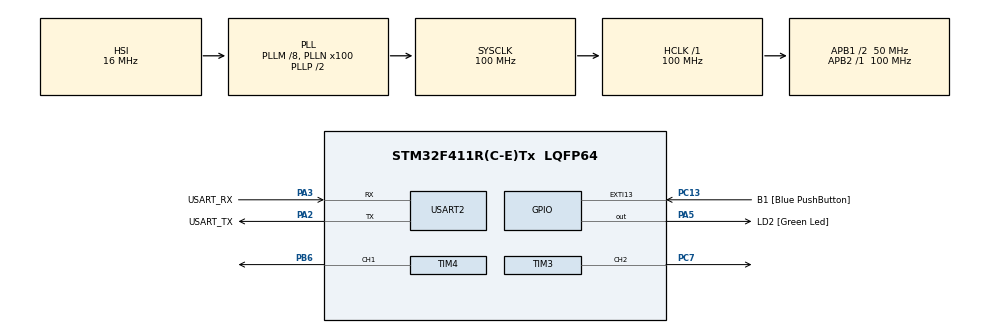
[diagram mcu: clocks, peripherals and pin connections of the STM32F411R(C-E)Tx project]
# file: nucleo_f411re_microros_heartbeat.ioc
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Mcu.Family=STM32F4
Mcu.Name=STM32F411R(C-E)Tx
Mcu.Package=LQFP64
NVIC.PriorityGroup=NVIC_PRIORITYGROUP_0
NVIC.USART2_IRQn=true\:0\:0\:false\:false\:true\:true\:true\:true
PA13.GPIO_Label=TMS
PA13.Mode=Serial_Wire
PA13.Signal=SYS_JTMS-SWDIO
PA14.GPIO_Label=TCK
PA14.Mode=Serial_Wire
PA14.Signal=SYS_JTCK-SWCLK
PA2.GPIO_Label=USART_TX
PA2.Mode=Asynchronous
PA2.Signal=USART2_TX
PA3.GPIO_Label=USART_RX
PA3.Mode=Asynchronous
PA3.Signal=USART2_RX
PA5.GPIO_Label=LD2 [Green Led]
PA5.Signal=GPIO_Output
PB3.GPIO_Label=SWO
PB3.Signal=SYS_JTDO-SWO
PB6.Signal=S_TIM4_CH1
PC13-ANTI_TAMP.GPIO_Label=B1 [Blue PushButton]
PC13-ANTI_TAMP.GPIO_ModeDefaultEXTI=GPIO_MODE_IT_FALLING
PC13-ANTI_TAMP.Signal=GPXTI13
PC14-OSC32_IN.Signal=RCC_OSC32_IN
PC15-OSC32_OUT.Signal=RCC_OSC32_OUT
PC7.Signal=S_TIM3_CH2
PH0\ -\ OSC_IN.Signal=RCC_OSC_IN
PH1\ -\ OSC_OUT.Signal=RCC_OSC_OUT
ProjectManager.HeapSize=0x200
ProjectManager.StackSize=0x400
ProjectManager.TargetToolchain=STM32CubeIDE
RCC.48MHZClocksFreq_Value=50000000
RCC.AHBFreq_Value=100000000
RCC.APB1CLKDivider=RCC_HCLK_DIV2
RCC.APB1Freq_Value=50000000
RCC.APB1TimFreq_Value=100000000
RCC.APB2Freq_Value=100000000
RCC.APB2TimFreq_Value=100000000
RCC.CortexFreq_Value=100000000
RCC.FLatency-AdvancedSettings=FLASH_LATENCY_3
RCC.HCLKFreq_Value=100000000
RCC.HSE_VALUE=8000000
RCC.HSI_VALUE=16000000
RCC.LSE_VALUE=32768
RCC.PLLM=8
RCC.PLLN=100
RCC.SYSCLKFreq_VALUE=100000000
RCC.SYSCLKSource=RCC_SYSCLKSOURCE_PLLCLK
RCC.VCOOutputFreq_Value=200000000
SH.S_TIM3_CH2.0=TIM3_CH2,PWM Generation2 CH2
SH.S_TIM4_CH1.0=TIM4_CH1,PWM Generation1 CH1
TIM3.Channel-PWM\ Generation2\ CH2=TIM_CHANNEL_2
TIM3.Period=19999
TIM3.Prescaler=99
TIM3.Pulse-PWM\ Generation2\ CH2=1500
TIM4.Channel-PWM\ Generation1\ CH1=TIM_CHANNEL_1
TIM4.Period=19999
TIM4.Prescaler=99
TIM4.Pulse-PWM\ Generation1\ CH1=1500
USART2.VirtualMode=VM_ASYNC
VP_TIM3_VS_ClockSourceINT.Mode=Internal
VP_TIM4_VS_ClockSourceINT.Mode=Internal
board=NUCLEO-F411RE

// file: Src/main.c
/* USER CODE BEGIN Header */
/**
  ******************************************************************************
  * @file           : main.c
  * @brief          : Main program body
  ******************************************************************************
  * @attention
  *
  * Copyright (c) 2026 STMicroelectronics.
  * All rights reserved.
  *
  * This software is licensed under terms that can be found in the LICENSE file
  * in the root directory of this software component.
  * If no LICENSE file comes with this software, it is provided AS-IS.
  *
  ******************************************************************************
  */
/* USER CODE END Header */
#include "main.h"

/* USER CODE BEGIN Includes */
#include <stdbool.h>
#include <stddef.h>
#include <stdint.h>

#include <rcl/rcl.h>
#include <rclc/rclc.h>
#include <rclc/executor.h>
#include <rmw_microros/rmw_microros.h>
#include <rcutils/allocator.h>
#include <std_msgs/msg/bool.h>
#include <std_msgs/msg/u_int32.h>
#include <std_msgs/msg/int16_multi_array.h>
#include <rosidl_runtime_c/message_type_support_struct.h>
#include <uxr/client/transport.h>
/* USER CODE END Includes */

/* USER CODE BEGIN PD */
/* Host and firmware must use the same physical safety envelope. */
#define SERVO_CENTER_US      1500
#define SERVO_MIN_SAFE_US    1150
#define SERVO_MAX_SAFE_US    1850

#define ESC_STOP_US          1550
#define ESC_FORWARD_START_US 1580
#define ESC_MAX_US           1600

#define ACTUATOR_CMD_TIMEOUT_MS 250U
#define ARM_TIMEOUT_MS          250U
#define MCU_STATUS_PERIOD_MS    100U
#define AGENT_PING_PERIOD_MS    500U
#define AGENT_PING_TIMEOUT_MS   100U
#define MAIN_LOOP_PERIOD_MS     10U
#define WAITING_AGENT_LED_PERIOD_MS 250U

#define STATE_FLAG_AGENT_CONNECTED 0x01
#define STATE_FLAG_ARMED           0x02
#define STATE_FLAG_COMMAND_FRESH   0x04
#define STATE_FLAG_ARM_FRESH       0x08
/* 0x10 is reserved while the hardware IWDG is disabled in bring-up. */
/* USER CODE END PD */

TIM_HandleTypeDef htim3;
TIM_HandleTypeDef htim4;

UART_HandleTypeDef huart2;

/* USER CODE BEGIN PV */
static uint16_t current_servo_us = SERVO_CENTER_US;
static uint16_t current_esc_us = ESC_STOP_US;

static rcl_allocator_t microros_allocator;
static rclc_support_t microros_support;
static rcl_node_t microros_node;
static rcl_publisher_t status_publisher;
static rcl_publisher_t actuator_state_publisher;
static rcl_subscription_t actuator_subscriber;
static rcl_subscription_t arm_subscriber;
static rclc_executor_t microros_executor;
static std_msgs__msg__UInt32 status_msg;
static std_msgs__msg__Int16MultiArray actuator_cmd_msg;
static std_msgs__msg__Bool arm_msg;
static std_msgs__msg__Int16MultiArray actuator_state_msg;
static int16_t actuator_cmd_data[2] = {SERVO_CENTER_US, ESC_STOP_US};
static int16_t actuator_state_data[3] = {SERVO_CENTER_US, ESC_STOP_US, 0};
static uint32_t heartbeat_counter = 0U;
static bool microros_ready = false;
static bool support_initialized = false;
static bool node_initialized = false;
static bool status_publisher_initialized = false;
static bool actuator_state_publisher_initialized = false;
static bool actuator_subscriber_initialized = false;
static bool arm_subscriber_initialized = false;
static bool executor_initialized = false;

static uint32_t last_actuator_cmd_ms = 0U;
static uint32_t last_arm_msg_ms = 0U;
static uint32_t last_status_publish_ms = 0U;
static uint32_t last_agent_ping_ms = 0U;
static bool actuator_cmd_seen = false;
static bool arm_msg_seen = false;
static bool arm_requested = false;
static bool actuator_armed = false;

static uint16_t desired_servo_us = SERVO_CENTER_US;
static uint16_t desired_esc_us = ESC_STOP_US;
/* USER CODE END PV */

void SystemClock_Config(void);
static void MX_GPIO_Init(void);
static void MX_TIM4_Init(void);
static void MX_TIM3_Init(void);
static void MX_USART2_UART_Init(void);
/* USER CODE BEGIN PFP */
extern bool cubemx_transport_open(struct uxrCustomTransport * transport);
extern bool cubemx_transport_close(struct uxrCustomTransport * transport);
extern size_t cubemx_transport_write(struct uxrCustomTransport * transport, const uint8_t * buf, size_t len, uint8_t * err);
extern size_t cubemx_transport_read(struct uxrCustomTransport * transport, uint8_t * buf, size_t len, int timeout, uint8_t * err);

extern void * microros_allocate(size_t size, void * state);
extern void microros_deallocate(void * pointer, void * state);
extern void * microros_reallocate(void * pointer, size_t size, void * state);
extern void * microros_zero_allocate(size_t number_of_elements, size_t size_of_element, void * state);
static bool microros_transport_init(void);
static bool microros_create_entities(void);
static void microros_destroy_entities(void);
static bool microros_publish_status_once(void);
static void microros_prepare_messages(void);
static void actuator_cmd_callback(const void * msgin);
static void arm_callback(const void * msgin);
static void apply_actuator_safety_update(void);
static void watchdog_init(void);
static void watchdog_refresh(void);
/* USER CODE END PFP */

/* USER CODE BEGIN 0 */
static uint16_t clamp_u16(uint16_t value, uint16_t min_value, uint16_t max_value)
{
  if (value < min_value)
  {
    return min_value;
  }

  if (value > max_value)
  {
    return max_value;
  }

  return value;
}

static void servo_write_us(uint16_t pulse_us)
{
  pulse_us = clamp_u16(pulse_us, SERVO_MIN_SAFE_US, SERVO_MAX_SAFE_US);
  current_servo_us = pulse_us;
  __HAL_TIM_SET_COMPARE(&htim4, TIM_CHANNEL_1, pulse_us);
}

static void esc_write_us(uint16_t pulse_us)
{
  if (pulse_us <= ESC_STOP_US) {
    pulse_us = ESC_STOP_US;
  } else {
    pulse_us = clamp_u16(pulse_us, ESC_FORWARD_START_US, ESC_MAX_US);
  }
  current_esc_us = pulse_us;
  __HAL_TIM_SET_COMPARE(&htim3, TIM_CHANNEL_2, pulse_us);
}

static void force_stop_outputs(void)
{
  servo_write_us(SERVO_CENTER_US);
  esc_write_us(ESC_STOP_US);
  actuator_armed = false;
}

static void watchdog_init(void)
{
  /*
   * Bring-up mode: keep watchdog disabled.
   *
   * The previous direct IWDG register setup can hide boot failures during
   * urgent micro-ROS/ST-LINK validation because the firmware may reset before
   * LD2 or the agent handshake becomes observable. Re-enable only after the
   * heartbeat/actuation link is proven stable on hardware.
   */
}

static void watchdog_refresh(void)
{
  /* Bring-up mode: watchdog disabled. */
}

static bool microros_transport_init(void)
{
  microros_allocator = rcutils_get_zero_initialized_allocator();
  microros_allocator.allocate = microros_allocate;
  microros_allocator.deallocate = microros_deallocate;
  microros_allocator.reallocate = microros_reallocate;
  microros_allocator.zero_allocate = microros_zero_allocate;

  if (!rcutils_set_default_allocator(&microros_allocator)) {
    return false;
  }

  rmw_uros_set_custom_transport(
    true,
    (void *) &huart2,
    cubemx_transport_open,
    cubemx_transport_close,
    cubemx_transport_write,
    cubemx_transport_read);
  return true;
}

static bool microros_create_entities(void)
{
  microros_support = (rclc_support_t) {0};
  microros_node = rcl_get_zero_initialized_node();
  status_publisher = rcl_get_zero_initialized_publisher();
  actuator_state_publisher = rcl_get_zero_initialized_publisher();
  actuator_subscriber = rcl_get_zero_initialized_subscription();
  arm_subscriber = rcl_get_zero_initialized_subscription();
  microros_executor = rclc_executor_get_zero_initialized_executor();

  if (rclc_support_init(&microros_support, 0, NULL, &microros_allocator) != RCL_RET_OK) {
    return false;
  }
  support_initialized = true;

  if (rclc_node_init_default(&microros_node, "nucleo_f411re", "", &microros_support) != RCL_RET_OK) {
    goto fail;
  }
  node_initialized = true;

  if (rclc_publisher_init_default(
      &status_publisher,
      &microros_node,
      ROSIDL_GET_MSG_TYPE_SUPPORT(std_msgs, msg, UInt32),
      "/mcu/status") != RCL_RET_OK) {
    goto fail;
  }
  status_publisher_initialized = true;

  if (rclc_publisher_init_default(
      &actuator_state_publisher,
      &microros_node,
      ROSIDL_GET_MSG_TYPE_SUPPORT(std_msgs, msg, Int16MultiArray),
      "/mcu/actuator_state") != RCL_RET_OK) {
    goto fail;
  }
  actuator_state_publisher_initialized = true;

  if (rclc_subscription_init_default(
      &actuator_subscriber,
      &microros_node,
      ROSIDL_GET_MSG_TYPE_SUPPORT(std_msgs, msg, Int16MultiArray),
      "/mcu/actuator_cmd") != RCL_RET_OK) {
    goto fail;
  }
  actuator_subscriber_initialized = true;

  if (rclc_subscription_init_default(
      &arm_subscriber,
      &microros_node,
      ROSIDL_GET_MSG_TYPE_SUPPORT(std_msgs, msg, Bool),
      "/mcu/arm") != RCL_RET_OK) {
    goto fail;
  }
  arm_subscriber_initialized = true;

  microros_prepare_messages();

  if (rclc_executor_init(&microros_executor, &microros_support.context, 2U, &microros_allocator) != RCL_RET_OK) {
    goto fail;
  }
  executor_initialized = true;

  if (rclc_executor_add_subscription(
      &microros_executor,
      &actuator_subscriber,
      &actuator_cmd_msg,
      &actuator_cmd_callback,
      ON_NEW_DATA) != RCL_RET_OK) {
    goto fail;
  }

  if (rclc_executor_add_subscription(
      &microros_executor,
      &arm_subscriber,
      &arm_msg,
      &arm_callback,
      ON_NEW_DATA) != RCL_RET_OK) {
    goto fail;
  }

  status_msg.data = 0U;
  heartbeat_counter = 0U;
  actuator_cmd_seen = false;
  arm_msg_seen = false;
  arm_requested = false;
  force_stop_outputs();
  microros_ready = true;
  return true;

fail:
  microros_destroy_entities();
  return false;
}

static void microros_destroy_entities(void)
{
  microros_ready = false;
  arm_requested = false;
  actuator_cmd_seen = false;
  arm_msg_seen = false;
  force_stop_outputs();

  if (support_initialized) {
    rmw_context_t * rmw_context =
      rcl_context_get_rmw_context(&microros_support.context);
    (void) rmw_uros_set_context_entity_destroy_session_timeout(
      rmw_context, 0);
  }
  if (executor_initialized) {
    (void) rclc_executor_fini(&microros_executor);
  }
  if (arm_subscriber_initialized) {
    (void) rcl_subscription_fini(&arm_subscriber, &microros_node);
  }
  if (actuator_subscriber_initialized) {
    (void) rcl_subscription_fini(&actuator_subscriber, &microros_node);
  }
  if (actuator_state_publisher_initialized) {
    (void) rcl_publisher_fini(&actuator_state_publisher, &microros_node);
  }
  if (status_publisher_initialized) {
    (void) rcl_publisher_fini(&status_publisher, &microros_node);
  }
  if (node_initialized) {
    (void) rcl_node_fini(&microros_node);
  }
  if (support_initialized) {
    (void) rclc_support_fini(&microros_support);
  }

  executor_initialized = false;
  arm_subscriber_initialized = false;
  actuator_subscriber_initialized = false;
  actuator_state_publisher_initialized = false;
  status_publisher_initialized = false;
  node_initialized = false;
  support_initialized = false;
}

static bool microros_publish_status_once(void)
{
  if (!microros_ready) {
    return false;
  }

  uint32_t now_ms = HAL_GetTick();
  bool command_fresh = actuator_cmd_seen
    && ((now_ms - last_actuator_cmd_ms) <= ACTUATOR_CMD_TIMEOUT_MS);
  bool arm_fresh = arm_msg_seen
    && ((now_ms - last_arm_msg_ms) <= ARM_TIMEOUT_MS);
  int16_t flags = STATE_FLAG_AGENT_CONNECTED;
  if (actuator_armed) {
    flags |= STATE_FLAG_ARMED;
  }
  if (command_fresh) {
    flags |= STATE_FLAG_COMMAND_FRESH;
  }
  if (arm_fresh) {
    flags |= STATE_FLAG_ARM_FRESH;
  }

  status_msg.data = heartbeat_counter;
  heartbeat_counter++;
  actuator_state_data[0] = (int16_t) current_servo_us;
  actuator_state_data[1] = (int16_t) current_esc_us;
  actuator_state_data[2] = flags;

  if (rcl_publish(&status_publisher, &status_msg, NULL) != RCL_RET_OK) {
    return false;
  }
  return rcl_publish(
    &actuator_state_publisher, &actuator_state_msg, NULL) == RCL_RET_OK;
}

static void microros_prepare_messages(void)
{
  actuator_cmd_data[0] = SERVO_CENTER_US;
  actuator_cmd_data[1] = ESC_STOP_US;

  actuator_cmd_msg.layout.dim.data = NULL;
  actuator_cmd_msg.layout.dim.size = 0U;
  actuator_cmd_msg.layout.dim.capacity = 0U;
  actuator_cmd_msg.layout.data_offset = 0U;

  actuator_cmd_msg.data.data = actuator_cmd_data;
  actuator_cmd_msg.data.size = 0U;
  actuator_cmd_msg.data.capacity = 2U;

  actuator_state_msg.layout.dim.data = NULL;
  actuator_state_msg.layout.dim.size = 0U;
  actuator_state_msg.layout.dim.capacity = 0U;
  actuator_state_msg.layout.data_offset = 0U;
  actuator_state_msg.data.data = actuator_state_data;
  actuator_state_msg.data.size = 3U;
  actuator_state_msg.data.capacity = 3U;

  arm_msg.data = false;
}

static void actuator_cmd_callback(const void * msgin)
{
  const std_msgs__msg__Int16MultiArray * msg =
    (const std_msgs__msg__Int16MultiArray *) msgin;

  if (msg == NULL || msg->data.data == NULL || msg->data.size < 1U) {
    desired_servo_us = SERVO_CENTER_US;
    desired_esc_us = ESC_STOP_US;
    actuator_cmd_seen = false;
    return;
  }

  int32_t servo_cmd = (int32_t) msg->data.data[0];

  if (servo_cmd < SERVO_MIN_SAFE_US) {
    servo_cmd = SERVO_MIN_SAFE_US;
  }

  if (servo_cmd > SERVO_MAX_SAFE_US) {
    servo_cmd = SERVO_MAX_SAFE_US;
  }

  int32_t esc_cmd = ESC_STOP_US;

  if (msg->data.size >= 2U) {
    esc_cmd = (int32_t) msg->data.data[1];
  }

  if (esc_cmd <= ESC_STOP_US) {
    esc_cmd = ESC_STOP_US;
  } else {
    if (esc_cmd < ESC_FORWARD_START_US) {
      esc_cmd = ESC_FORWARD_START_US;
    }
    if (esc_cmd > ESC_MAX_US) {
      esc_cmd = ESC_MAX_US;
    }
  }

  desired_servo_us = (uint16_t) servo_cmd;
  desired_esc_us = (uint16_t) esc_cmd;
  last_actuator_cmd_ms = HAL_GetTick();
  actuator_cmd_seen = true;
}

static void arm_callback(const void * msgin)
{
  const std_msgs__msg__Bool * msg =
    (const std_msgs__msg__Bool *) msgin;
  if (msg == NULL) {
    arm_requested = false;
    arm_msg_seen = false;
    force_stop_outputs();
    return;
  }

  arm_requested = msg->data;
  arm_msg_seen = true;
  last_arm_msg_ms = HAL_GetTick();
  if (!arm_requested) {
    force_stop_outputs();
  }
}

static void apply_actuator_safety_update(void)
{
  uint32_t now_ms = HAL_GetTick();
  bool command_fresh = actuator_cmd_seen
    && ((now_ms - last_actuator_cmd_ms) <= ACTUATOR_CMD_TIMEOUT_MS);
  bool arm_fresh = arm_msg_seen
    && ((now_ms - last_arm_msg_ms) <= ARM_TIMEOUT_MS);

  if (!microros_ready || !arm_requested || !command_fresh || !arm_fresh) {
    force_stop_outputs();
    return;
  }

  actuator_armed = true;
  servo_write_us(desired_servo_us);
  esc_write_us(desired_esc_us);
}

/* USER CODE END 0 */

int main(void)
{

  /* MCU Configuration--------------------------------------------------------*/

  /* Reset of all peripherals, Initializes the Flash interface and the Systick. */
  HAL_Init();

  /* Configure the system clock */
  SystemClock_Config();

  /* Initialize all configured peripherals */
  MX_GPIO_Init();
  MX_TIM4_Init();
  MX_TIM3_Init();
  MX_USART2_UART_Init();
  /* USER CODE BEGIN 2 */
HAL_TIM_PWM_Start(&htim4, TIM_CHANNEL_1);
HAL_TIM_PWM_Start(&htim3, TIM_CHANNEL_2);

/* Boot is always stopped and disarmed. */
force_stop_outputs();
if (!microros_transport_init()) {
  Error_Handler();
}
watchdog_init();
HAL_GPIO_WritePin(LD2_GPIO_Port, LD2_Pin, GPIO_PIN_SET);
uint32_t last_waiting_agent_led_toggle_ms = HAL_GetTick();
  /* USER CODE END 2 */

  /* Infinite loop */
  /* USER CODE BEGIN WHILE */
  while (1)
  {
    uint32_t now_ms = HAL_GetTick();

    if (!microros_ready) {
      force_stop_outputs();
      if ((now_ms - last_waiting_agent_led_toggle_ms) >= WAITING_AGENT_LED_PERIOD_MS) {
        last_waiting_agent_led_toggle_ms = now_ms;
        HAL_GPIO_TogglePin(LD2_GPIO_Port, LD2_Pin);
      }
      if ((now_ms - last_agent_ping_ms) >= AGENT_PING_PERIOD_MS) {
        last_agent_ping_ms = now_ms;
        if (rmw_uros_ping_agent(AGENT_PING_TIMEOUT_MS, 1U) == RMW_RET_OK) {
          if (microros_create_entities()) {
            last_status_publish_ms = now_ms;
            HAL_GPIO_WritePin(LD2_GPIO_Port, LD2_Pin, GPIO_PIN_SET);
          }
        }
      }
    } else {
      rcl_ret_t spin_result = rclc_executor_spin_some(
        &microros_executor, RCL_MS_TO_NS(5));
      if (spin_result != RCL_RET_OK && spin_result != RCL_RET_TIMEOUT) {
        microros_destroy_entities();
        HAL_GPIO_WritePin(LD2_GPIO_Port, LD2_Pin, GPIO_PIN_RESET);
      }

      apply_actuator_safety_update();
      now_ms = HAL_GetTick();

      if (microros_ready
          && (now_ms - last_status_publish_ms) >= MCU_STATUS_PERIOD_MS) {
        if (!microros_publish_status_once()) {
          microros_destroy_entities();
          HAL_GPIO_WritePin(LD2_GPIO_Port, LD2_Pin, GPIO_PIN_RESET);
        }
        last_status_publish_ms = now_ms;
      }

      if (microros_ready
          && (now_ms - last_agent_ping_ms) >= AGENT_PING_PERIOD_MS) {
        last_agent_ping_ms = now_ms;
        if (rmw_uros_ping_agent(AGENT_PING_TIMEOUT_MS, 1U) != RMW_RET_OK) {
          microros_destroy_entities();
          HAL_GPIO_WritePin(LD2_GPIO_Port, LD2_Pin, GPIO_PIN_RESET);
        }
      }
    }

    apply_actuator_safety_update();
    watchdog_refresh();
    HAL_Delay(MAIN_LOOP_PERIOD_MS);

    /* USER CODE END WHILE */

  }
}

void SystemClock_Config(void)
{
  RCC_OscInitTypeDef RCC_OscInitStruct = {0};
  RCC_ClkInitTypeDef RCC_ClkInitStruct = {0};

  /** Configure the main internal regulator output voltage
  */
  __HAL_RCC_PWR_CLK_ENABLE();
  __HAL_PWR_VOLTAGESCALING_CONFIG(PWR_REGULATOR_VOLTAGE_SCALE1);

  /** Initializes the RCC Oscillators according to the specified parameters
  * in the RCC_OscInitTypeDef structure.
  */
  RCC_OscInitStruct.OscillatorType = RCC_OSCILLATORTYPE_HSI;
  RCC_OscInitStruct.HSIState = RCC_HSI_ON;
  RCC_OscInitStruct.HSICalibrationValue = RCC_HSICALIBRATION_DEFAULT;
  RCC_OscInitStruct.PLL.PLLState = RCC_PLL_ON;
  RCC_OscInitStruct.PLL.PLLSource = RCC_PLLSOURCE_HSI;
  RCC_OscInitStruct.PLL.PLLM = 8;
  RCC_OscInitStruct.PLL.PLLN = 100;
  RCC_OscInitStruct.PLL.PLLP = RCC_PLLP_DIV2;
  RCC_OscInitStruct.PLL.PLLQ = 4;
  if (HAL_RCC_OscConfig(&RCC_OscInitStruct) != HAL_OK)
  {
    Error_Handler();
  }

  /** Initializes the CPU, AHB and APB buses clocks
  */
  RCC_ClkInitStruct.ClockType = RCC_CLOCKTYPE_HCLK|RCC_CLOCKTYPE_SYSCLK
                              |RCC_CLOCKTYPE_PCLK1|RCC_CLOCKTYPE_PCLK2;
  RCC_ClkInitStruct.SYSCLKSource = RCC_SYSCLKSOURCE_PLLCLK;
  RCC_ClkInitStruct.AHBCLKDivider = RCC_SYSCLK_DIV1;
  RCC_ClkInitStruct.APB1CLKDivider = RCC_HCLK_DIV2;
  RCC_ClkInitStruct.APB2CLKDivider = RCC_HCLK_DIV1;

  if (HAL_RCC_ClockConfig(&RCC_ClkInitStruct, FLASH_LATENCY_3) != HAL_OK)
  {
    Error_Handler();
  }
}

static void MX_TIM3_Init(void)
{

  TIM_ClockConfigTypeDef sClockSourceConfig = {0};
  TIM_MasterConfigTypeDef sMasterConfig = {0};
  TIM_OC_InitTypeDef sConfigOC = {0};

  htim3.Instance = TIM3;
  htim3.Init.Prescaler = 99;
  htim3.Init.CounterMode = TIM_COUNTERMODE_UP;
  htim3.Init.Period = 19999;
  htim3.Init.ClockDivision = TIM_CLOCKDIVISION_DIV1;
  htim3.Init.AutoReloadPreload = TIM_AUTORELOAD_PRELOAD_DISABLE;
  if (HAL_TIM_Base_Init(&htim3) != HAL_OK)
  {
    Error_Handler();
  }
  sClockSourceConfig.ClockSource = TIM_CLOCKSOURCE_INTERNAL;
  if (HAL_TIM_ConfigClockSource(&htim3, &sClockSourceConfig) != HAL_OK)
  {
    Error_Handler();
  }
  if (HAL_TIM_PWM_Init(&htim3) != HAL_OK)
  {
    Error_Handler();
  }
  sMasterConfig.MasterOutputTrigger = TIM_TRGO_RESET;
  sMasterConfig.MasterSlaveMode = TIM_MASTERSLAVEMODE_DISABLE;
  if (HAL_TIMEx_MasterConfigSynchronization(&htim3, &sMasterConfig) != HAL_OK)
  {
    Error_Handler();
  }
  sConfigOC.OCMode = TIM_OCMODE_PWM1;
  sConfigOC.Pulse = 1500;
  sConfigOC.OCPolarity = TIM_OCPOLARITY_HIGH;
  sConfigOC.OCFastMode = TIM_OCFAST_DISABLE;
  if (HAL_TIM_PWM_ConfigChannel(&htim3, &sConfigOC, TIM_CHANNEL_2) != HAL_OK)
  {
    Error_Handler();
  }
  HAL_TIM_MspPostInit(&htim3);

}

static void MX_TIM4_Init(void)
{

  TIM_ClockConfigTypeDef sClockSourceConfig = {0};
  TIM_MasterConfigTypeDef sMasterConfig = {0};
  TIM_OC_InitTypeDef sConfigOC = {0};

  htim4.Instance = TIM4;
  htim4.Init.Prescaler = 99;
  htim4.Init.CounterMode = TIM_COUNTERMODE_UP;
  htim4.Init.Period = 19999;
  htim4.Init.ClockDivision = TIM_CLOCKDIVISION_DIV1;
  htim4.Init.AutoReloadPreload = TIM_AUTORELOAD_PRELOAD_DISABLE;
  if (HAL_TIM_Base_Init(&htim4) != HAL_OK)
  {
    Error_Handler();
  }
  sClockSourceConfig.ClockSource = TIM_CLOCKSOURCE_INTERNAL;
  if (HAL_TIM_ConfigClockSource(&htim4, &sClockSourceConfig) != HAL_OK)
  {
    Error_Handler();
  }
  if (HAL_TIM_PWM_Init(&htim4) != HAL_OK)
  {
    Error_Handler();
  }
  sMasterConfig.MasterOutputTrigger = TIM_TRGO_RESET;
  sMasterConfig.MasterSlaveMode = TIM_MASTERSLAVEMODE_DISABLE;
  if (HAL_TIMEx_MasterConfigSynchronization(&htim4, &sMasterConfig) != HAL_OK)
  {
    Error_Handler();
  }
  sConfigOC.OCMode = TIM_OCMODE_PWM1;
  sConfigOC.Pulse = 1500;
  sConfigOC.OCPolarity = TIM_OCPOLARITY_HIGH;
  sConfigOC.OCFastMode = TIM_OCFAST_DISABLE;
  if (HAL_TIM_PWM_ConfigChannel(&htim4, &sConfigOC, TIM_CHANNEL_1) != HAL_OK)
  {
    Error_Handler();
  }
  HAL_TIM_MspPostInit(&htim4);

}

static void MX_USART2_UART_Init(void)
{

  huart2.Instance = USART2;
  huart2.Init.BaudRate = 115200;
  huart2.Init.WordLength = UART_WORDLENGTH_8B;
  huart2.Init.StopBits = UART_STOPBITS_1;
  huart2.Init.Parity = UART_PARITY_NONE;
  huart2.Init.Mode = UART_MODE_TX_RX;
  huart2.Init.HwFlowCtl = UART_HWCONTROL_NONE;
  huart2.Init.OverSampling = UART_OVERSAMPLING_16;
  if (HAL_UART_Init(&huart2) != HAL_OK)
  {
    Error_Handler();
  }

}

static void MX_GPIO_Init(void)
{
  GPIO_InitTypeDef GPIO_InitStruct = {0};

  /* GPIO Ports Clock Enable */
  __HAL_RCC_GPIOC_CLK_ENABLE();
  __HAL_RCC_GPIOH_CLK_ENABLE();
  __HAL_RCC_GPIOA_CLK_ENABLE();
  __HAL_RCC_GPIOB_CLK_ENABLE();

  /*Configure GPIO pin Output Level */
  HAL_GPIO_WritePin(LD2_GPIO_Port, LD2_Pin, GPIO_PIN_RESET);

  /*Configure GPIO pin : B1_Pin */
  GPIO_InitStruct.Pin = B1_Pin;
  GPIO_InitStruct.Mode = GPIO_MODE_IT_FALLING;
  GPIO_InitStruct.Pull = GPIO_NOPULL;
  HAL_GPIO_Init(B1_GPIO_Port, &GPIO_InitStruct);

  /*Configure GPIO pin : LD2_Pin */
  GPIO_InitStruct.Pin = LD2_Pin;
  GPIO_InitStruct.Mode = GPIO_MODE_OUTPUT_PP;
  GPIO_InitStruct.Pull = GPIO_NOPULL;
  GPIO_InitStruct.Speed = GPIO_SPEED_FREQ_LOW;
  HAL_GPIO_Init(LD2_GPIO_Port, &GPIO_InitStruct);

}

void Error_Handler(void)
{
  __disable_irq();
  while (1)
  {
  }
}
